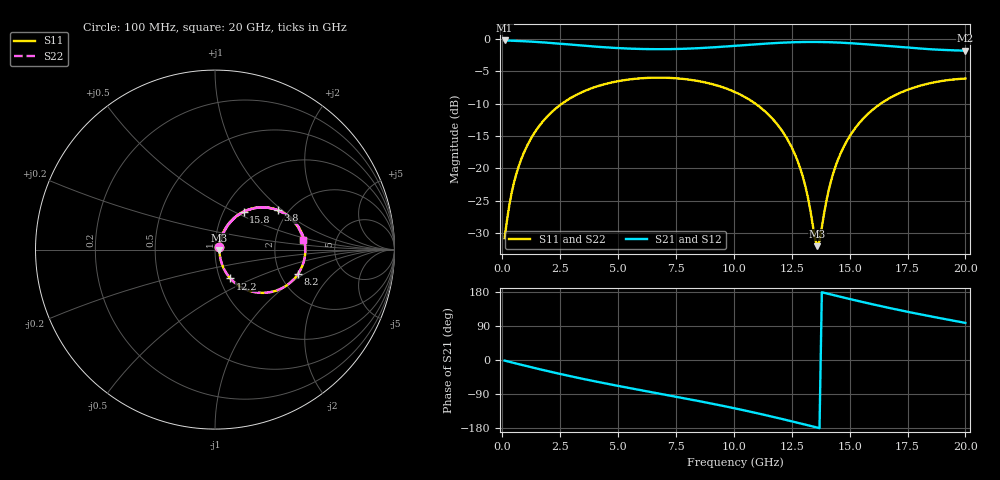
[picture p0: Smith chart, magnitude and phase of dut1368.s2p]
! Touchstone file exported from HFSS 2026.1.0
!  File:  C:/ffzhzh/LocalFiles/Ansys_Project_Files/temp_train_TSV_RDL_1368_1783345382_50076.aedt
!  Generated:  09:56:22 PM Jul  6, 2026
!  Design:  TSV_RDL
!  Project:  temp_train_TSV_RDL_1368_1783345382_50076
! Variables:
!  h_bsmrdl = 2.58um
!  h_ox = 20um
!  h_rdl = 5um
!  h_sub = 66.41um
!  h_tmrdl = 4.59um
!  h_tsv = 66.41um
!  h_via = 3um
!  l_bsmrdl = 710.35um
!  l_sub = 4495.48um
!  l_tmrdl = 463.65um
!  m_sub = 200um
!  pitch = 40.65um
!  r_tsv = 9.52um
!  s_tmrdl = 10um
!  w_bsmrdl = 17.97um
!  w_sub = 500um
!  w_tmrdl = 18.64um
!  x_tsv_center1 = 472.97um
!  x_tsv_center2 = 1201.29um
!  x_tsv_center3 = 1683.58um
!  x_tsv_center4 = 2411.9um
!  x_tsv_center5 = 2894.19um
!  x_tsv_center6 = 3622.51um
# GHz S MA R 50.000000
! Terminal data exported
! Port[1] = TM_RDL1_1_T1
! Port[2] = TM_RDL5_1_T1
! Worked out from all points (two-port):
!   200 points, 100 MHz to 20 GHz, reference 50 ohm
!   highest |S21| = -0.22 dB at 100 MHz (marker M1); lowest = -1.8 dB at 20 GHz (marker M2)
!   |S21| within 3 dB of the highest: start of sweep to end of sweep
!   lowest |S11| = -32.0 dB at 13.6 GHz (marker M3), VSWR 1.05, Z = 52.6 - j0.189 ohm
!   |S11| at or under -10 dB: start of sweep to 2.572 GHz; 10.93 GHz to 16.34 GHz (5.402 GHz wide, 39.6 % of centre)
!   |S22| runs from -31.8 to -6.0 dB; largest |S21 - S12| = 1.6e-14
!   S11 on the Smith chart (normalised r, x): 100 MHz: 1.05, +0.03; 3.8 GHz: 1.76, +0.93; 8.2 GHz: 2.50, -0.88; 12.2 GHz: 1.12, -0.37; 15.8 GHz: 1.24, +0.56; 20 GHz: 2.90, +0.41
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0.1  0.02891 30.1  0.9753 -1.6  0.9753 -1.6  0.02891 30.1
! Gamma 0 0 0 0
! Port Impedance 50 0 50 0
0.5  0.07713 61.0  0.9696 -7.8  0.9696 -7.8  0.07713 61.0
1.2  0.1655 61.2  0.9566 -18.3  0.9566 -18.3  0.1655 61.2
2.2  0.2795 51.0  0.9296 -32.7  0.9296 -32.7  0.2795 51.0
3.5  0.3929 35.7  0.889 -50.0  0.889 -50.0  0.3929 35.7
3.8  0.4131 32.2  0.8802 -53.8  0.8802 -53.8  0.4131 32.2
6.8  0.5033 -1.1  0.8347 -89.0  0.8347 -89.0  0.5032 -1.1
8.2  0.4821 -16.4  0.8457 -105.0  0.8457 -105.0  0.482 -16.3
10.1  0.3856 -38.1  0.8876 -128.3  0.8876 -128.3  0.3856 -38.1
11.3  0.2808 -52.4  0.9198 -144.5  0.9198 -144.5  0.2808 -52.3
12.2  0.1815 -62.1  0.9393 -157.4  0.9393 -157.4  0.1815 -61.9
12.9  0.09609 -65.0  0.9481 -167.8  0.9481 -167.8  0.09621 -64.7
13.4  0.03744 -45.5  0.9499 -175.3  0.9499 -175.3  0.03783 -44.8
13.6  0.02507 -4.1  0.9495 -178.3  0.9495 -178.3  0.02569 -4.0
13.7  0.0275 22.8  0.9491 -179.8  0.9491 -179.8  0.02808 22.3
14.1  0.06823 60.9  0.9457 174.2  0.9457 174.2  0.06849 60.4
14.5  0.1171 64.3  0.94 168.3  0.94 168.3  0.1172 64.0
15.1  0.1886 60.5  0.9275 159.5  0.9275 159.5  0.1887 60.3
15.8  0.2648 53.1  0.9087 149.6  0.9087 149.6  0.2649 53.0
16.7  0.3474 42.7  0.8816 137.5  0.8816 137.5  0.3474 42.6
18.2  0.4436 25.6  0.8404 118.7  0.8404 118.7  0.4436 25.5
20  0.4952 6.1  0.8136 97.9  0.8136 97.9  0.4952 6.1
